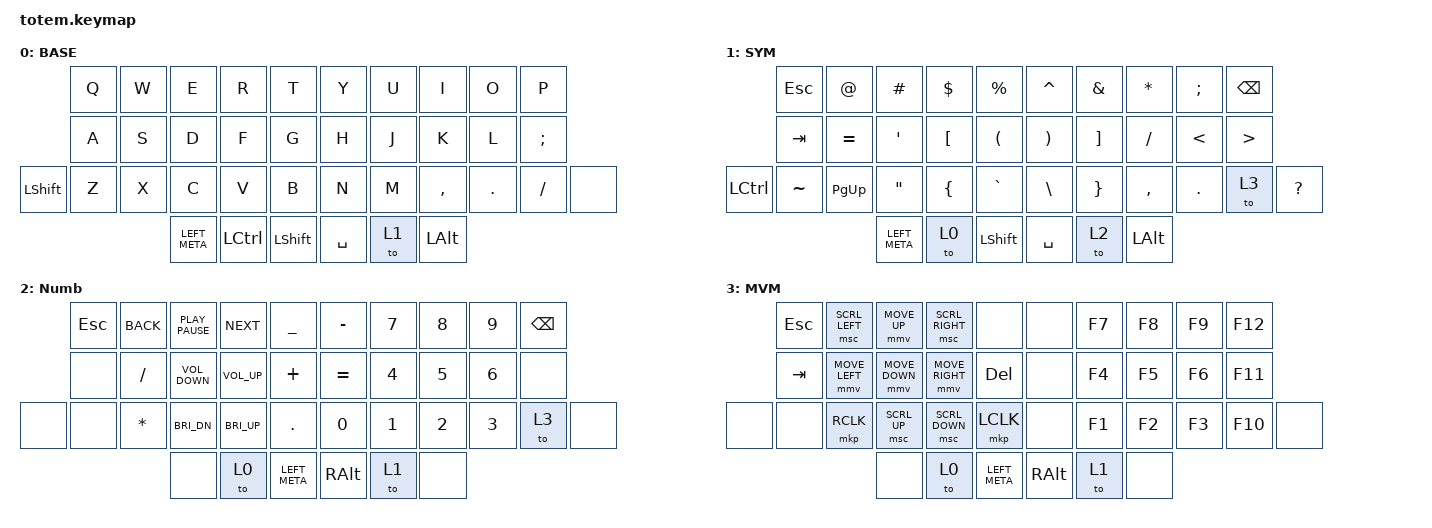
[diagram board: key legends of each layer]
//
//                                                        ▀▀▀▀▀     ▀▀▀▀▀          ▀▀█▀▀
//                                                        ▄▀▀▀▄  ▄  ▄▀▀▀▄  ▄  ▄▀▀▀▄  █  ▄▀▀▀▄
//                                                        █   █  █  █   █  █  █   █  █  █   █
//                                                         ▀▀▀   █   ▀▀▀   █   ▀▀▀   ▀   ▀▀▀
//                                                               █      ▄▄▄█▄▄▄    █   █  
//                                                               ▀      █  █  █     █▄█
//                                                             ▀▀▀▀▀    █  █  █      ▀
//                                                                      ▀  ▀  ▀
//
// ▄▄▄▄▄▄▄▄▄▄▄▄▄▄▄▄▄▄▄▄▄▄▄▄▄▄▄▄▄▄▄▄▄▄▄▄▄▄▄▄▄▄▄▄▄▄▄▄▄▄▄▄▄▄▄▄▄▄▄▄▄▄▄▄▄▄▄▄▄▄▄▄▄▄▄▄▄▄▄▄▄▄▄▄▄▄▄▄▄▄▄▄▄▄▄▄▄▄▄▄▄▄▄▄▄▄▄▄▄▄▄▄▄▄▄▄▄▄▄▄▄▄▄▄▄▄▄▄▄▄▄▄▄▄▄▄▄▄▄▄▄▄▄▄▄▄▄▄▄

#include <behaviors.dtsi>
#include <dt-bindings/zmk/keys.h>
#include <dt-bindings/zmk/pointing.h>

#define BASE 0
#define NAV  1
#define SYM  2
#define ADJ  3
#define TVP1 4
#define TVP2 5

&mt {
    quick-tap-ms = <100>;
    global-quick-tap;
    flavor = "tap-preferred";
    tapping-term-ms = <170>;
};

/ {
    combos {
        compatible = "zmk,combos";

        combo_retern {
            timeout-ms = <50>;
            key-positions = <16 17 18>;
            bindings = <&kp ENTER>;
            layers = <0 2 3 1>;
        };

        esc {
            bindings = <&kp ESCAPE>;
            key-positions = <13 12 11>;
            layers = <0 2 1 3>;
        };

        Backspace {
            bindings = <&kp DEL>;
            key-positions = <6 7 8>;
            timeout-ms = <50>;
            layers = <0 1 2 3>;
        };
    };

    macros {
        gif: gif {
            label = "giphy";
            compatible = "zmk,behavior-macro";
            #binding-cells = <0>;
            bindings =
                <&macro_press>,
                <&kp LSHFT>,
                <&macro_tap>,
                <&kp N2>,
                <&macro_release>,
                <&kp LSHFT>,
                <&macro_tap>,
                <&kp G &kp I &kp F>;
        };
    };

    keymap {
        compatible = "zmk,keymap";

        // ▄▄▄▄▄▄▄▄▄▄▄▄▄▄▄▄▄▄▄▄▄▄▄▄▄▄▄▄▄▄▄▄▄▄▄▄▄▄▄▄▄▄▄▄▄▄▄▄▄▄▄▄▄▄▄▄▄▄▄▄▄▄▄▄▄▄▄▄▄▄▄▄▄▄▄▄▄▄▄▄▄▄▄▄▄▄▄▄▄▄▄▄▄▄▄▄▄▄▄▄▄▄▄▄▄▄▄▄▄▄▄▄▄▄▄▄▄▄▄▄▄▄▄▄▄▄▄▄▄▄▄▄▄▄▄▄▄▄▄▄▄▄▄▄▄▄▄▄▄

        base_layer {
            // ┏━━━━━━━━━━━━━━━━━━━━━━━━━━━━━━━━━━━━━━━┓

            label = "BASE";

            // ┗━━━━━━━━━━━━━━━━━━━━━━━━━━━━━━━━━━━━━━━┛
            //             ┏━━━━━━━━━━━┳━━━━━━━━━━━┳━━━━━━━━━━━┳━━━━━━━━━━━┳━━━━━━━━━━━┓   ┏━━━━━━━━━━━┳━━━━━━━━━━━┳━━━━━━━━━━━┳━━━━━━━━━━━┳━━━━━━━━━━━┓
            //             ┃     Q     ┃     W     ┃     F     ┃     P     ┃     G     ┃   ┃     J     ┃     L     ┃     U     ┃     Y     ┃     ;     ┃
            //             ┣━━━━━━━━━━━╋━━━━━━━━━━━╋━━━━━━━━━━━╋━━━━━━━━━━━╋━━━━━━━━━━━┫   ┣━━━━━━━━━━━╋━━━━━━━━━━━╋━━━━━━━━━━━╋━━━━━━━━━━━╋━━━━━━━━━━━┫
            //             ┃     A     ┃     R     ┃     S     ┃     T     ┃     D     ┃   ┃     H     ┃     N     ┃     E     ┃     I     ┃     O     ┃
            // ┏━━━━━━━━━━━╋━━━━━━━━━━━╋━━━━━━━━━━━╋━━━━━━━━━━━╋━━━━━━━━━━━╋━━━━━━━━━━━┫   ┣━━━━━━━━━━━╋━━━━━━━━━━━╋━━━━━━━━━━━╋━━━━━━━━━━━╋━━━━━━━━━━━╋━━━━━━━━━━━┓
            // ┃     Q     ┃     Z     ┃     X     ┃     C     ┃     V     ┃     B     ┃   ┃     K     ┃     M     ┃     ,     ┃     .     ┃     /     ┃     \     ┃
            // ┗━━━━━━━━━━━┻━━━━━━━━━━━┻━━━━━━━━━━━╋━━━━━━━━━━━╋━━━━━━━━━━━╋━━━━━━━━━━━┫   ┣━━━━━━━━━━━╋━━━━━━━━━━━╋━━━━━━━━━━━╋━━━━━━━━━━━┻━━━━━━━━━━━┻━━━━━━━━━━━┛
            //                                     ┃    DEL    ┃    TAB    ┃    SPC    ┃   ┃   ENTER   ┃           ┃   BSPC    ┃
            //                                     ┗━━━━━━━━━━━┻━━━━━━━━━━━┻━━━━━━━━━━━┛   ┗━━━━━━━━━━━┻━━━━━━━━━━━┻━━━━━━━━━━━┛

            bindings = <
                &kp Q  &kp W  &kp E          &kp R             &kp T             &kp Y      &kp U  &kp I         &kp O    &kp P
                &kp A  &kp S  &kp D          &kp F             &kp G             &kp H      &kp J  &kp K         &kp L    &kp SEMICOLON
&kp LEFT_SHIFT  &kp Z  &kp X  &kp C          &kp V             &kp B             &kp N      &kp M  &kp COMMA     &kp DOT  &kp FSLH       &none
                              &kp LEFT_META  &kp LEFT_CONTROL  &kp LEFT_SHIFT    &kp SPACE  &to 1  &kp LEFT_ALT
            >;
        };

        symbols {
            // ┏━━━━━━━━━━━━━━━━━━━━━━━━━━━━━━━━━━━━━━━┓

            label = "SYM";

            // ┗━━━━━━━━━━━━━━━━━━━━━━━━━━━━━━━━━━━━━━━┛
            //             ┏━━━━━━━━━━━┳━━━━━━━━━━━┳━━━━━━━━━━━┳━━━━━━━━━━━┳━━━━━━━━━━━┓   ┏━━━━━━━━━━━┳━━━━━━━━━━━┳━━━━━━━━━━━┳━━━━━━━━━━━┳━━━━━━━━━━━┓
            //             ┃           ┃           ┃     UP    ┃           ┃     {     ┃   ┃     }     ┃     7     ┃     8     ┃     9     ┃     +     ┃
            //             ┣━━━━━━━━━━━╋━━━━━━━━━━━╋━━━━━━━━━━━╋━━━━━━━━━━━╋━━━━━━━━━━━┫   ┣━━━━━━━━━━━╋━━━━━━━━━━━╋━━━━━━━━━━━╋━━━━━━━━━━━╋━━━━━━━━━━━┫
            //             ┃   SHIFT   ┃   LEFT    ┃    DOWN   ┃   RIGHT   ┃     [     ┃   ┃     ]     ┃     4     ┃     5     ┃     6     ┃     -     ┃
            // ┏━━━━━━━━━━━╋━━━━━━━━━━━╋━━━━━━━━━━━╋━━━━━━━━━━━╋━━━━━━━━━━━╋━━━━━━━━━━━┫   ┣━━━━━━━━━━━╋━━━━━━━━━━━╋━━━━━━━━━━━╋━━━━━━━━━━━╋━━━━━━━━━━━╋━━━━━━━━━━━┓
            // ┃           ┃           ┃   P UP    ┃  C LOCK   ┃  P DOWN   ┃     (     ┃   ┃     )     ┃     1     ┃     2     ┃     3     ┃     *     ┃           ┃
            // ┗━━━━━━━━━━━┻━━━━━━━━━━━┻━━━━━━━━━━━╋━━━━━━━━━━━╋━━━━━━━━━━━╋━━━━━━━━━━━┫   ┣━━━━━━━━━━━╋━━━━━━━━━━━╋━━━━━━━━━━━╋━━━━━━━━━━━┻━━━━━━━━━━━┻━━━━━━━━━━━┛
            //                                     ┃           ┃    TAB    ┃    SPC    ┃   ┃    DEL    ┃     0     ┃           ┃
            //                                     ┗━━━━━━━━━━━┻━━━━━━━━━━━┻━━━━━━━━━━━┛   ┗━━━━━━━━━━━┻━━━━━━━━━━━┻━━━━━━━━━━━┛

            bindings = <
                  &kp ESC    &kp AT_SIGN  &kp POUND          &kp DOLLAR        &kp PERCENT             &kp CARET              &kp AMPERSAND      &kp ASTERISK  &kp SEMICOLON  &kp BACKSPACE
                  &kp TAB    &kp EQUAL    &kp SINGLE_QUOTE   &kp LEFT_BRACKET  &kp LEFT_PARENTHESIS    &kp RIGHT_PARENTHESIS  &kp RIGHT_BRACKET  &kp SLASH     &kp LESS_THAN  &kp GREATER_THAN
&kp LEFT_CONTROL  &kp TILDE  &kp PG_UP    &kp DOUBLE_QUOTES  &kp LEFT_BRACE    &kp GRAVE               &kp BACKSLASH          &kp RIGHT_BRACE    &kp COMMA     &kp PERIOD     &to 3             &kp QUESTION
                                          &kp LEFT_META      &to 0             &kp LEFT_SHIFT          &kp SPACE              &to 2              &kp LEFT_ALT
            >;
        };

        Numb {
            bindings = <
       &kp ESCAPE  &kp K_BACK    &kp K_PLAY_PAUSE   &kp K_NEXT       &kp UNDERSCORE    &kp MINUS      &kp NUMBER_7  &kp NUMBER_8  &kp NUMBER_9  &kp BACKSPACE
       &none       &kp SLASH     &kp C_VOLUME_DOWN  &kp C_VOLUME_UP  &kp PLUS          &kp EQUAL      &kp NUMBER_4  &kp NUMBER_5  &kp NUMBER_6  &none
&none  &none       &kp ASTERISK  &kp C_BRI_DN       &kp C_BRI_UP     &kp PERIOD        &kp NUMBER_0   &kp NUMBER_1  &kp NUMBER_2  &kp NUMBER_3  &to 3          &none
                                 &none              &to 0            &kp LEFT_META     &kp RIGHT_ALT  &to 1         &none
            >;
        };

        Mouse_MVM {
            // ┏━━━━━━━━━━━━━━━━━━━━━━━━━━━━━━━━━━━━━━━┓

            label = "MVM";

            // ┗━━━━━━━━━━━━━━━━━━━━━━━━━━━━━━━━━━━━━━━┛
            //             ┏━━━━━━━━━━━┳━━━━━━━━━━━┳━━━━━━━━━━━┳━━━━━━━━━━━┳━━━━━━━━━━━┓   ┏━━━━━━━━━━━┳━━━━━━━━━━━┳━━━━━━━━━━━┳━━━━━━━━━━━┳━━━━━━━━━━━┓
            //             ┃   RESET   ┃ BT CLEAR  ┃  OUT TOG  ┃           ┃           ┃   ┃           ┃    F7     ┃    F8     ┃    F9     ┃    F12    ┃
            //             ┣━━━━━━━━━━━╋━━━━━━━━━━━╋━━━━━━━━━━━╋━━━━━━━━━━━╋━━━━━━━━━━━┫   ┣━━━━━━━━━━━╋━━━━━━━━━━━╋━━━━━━━━━━━╋━━━━━━━━━━━╋━━━━━━━━━━━┫
            //             ┃ BOOTLOAD  ┃ BT NEXT   ┃           ┃           ┃           ┃   ┃           ┃    F4     ┃    F5     ┃    F6     ┃    F11    ┃
            // ┏━━━━━━━━━━━╋━━━━━━━━━━━╋━━━━━━━━━━━╋━━━━━━━━━━━╋━━━━━━━━━━━╋━━━━━━━━━━━┫   ┣━━━━━━━━━━━╋━━━━━━━━━━━╋━━━━━━━━━━━╋━━━━━━━━━━━╋━━━━━━━━━━━╋━━━━━━━━━━━┓
            // ┃           ┃           ┃ BT PREV   ┃           ┃           ┃           ┃   ┃           ┃    F1     ┃    F2     ┃    F3     ┃    F10    ┃           ┃
            // ┗━━━━━━━━━━━┻━━━━━━━━━━━┻━━━━━━━━━━━╋━━━━━━━━━━━╋━━━━━━━━━━━╋━━━━━━━━━━━┫   ┣━━━━━━━━━━━╋━━━━━━━━━━━╋━━━━━━━━━━━╋━━━━━━━━━━━┻━━━━━━━━━━━┻━━━━━━━━━━━┛
            //                                     ┃           ┃           ┃           ┃   ┃           ┃           ┃           ┃
            //                                     ┗━━━━━━━━━━━┻━━━━━━━━━━━┻━━━━━━━━━━━┛   ┗━━━━━━━━━━━┻━━━━━━━━━━━┻━━━━━━━━━━━┛

            bindings = <
       &kp ESCAPE  &msc SCRL_LEFT  &mmv MOVE_UP    &msc SCRL_RIGHT  &none            &none          &kp F7  &kp F8  &kp F9  &kp F12
       &kp TAB     &mmv MOVE_LEFT  &mmv MOVE_DOWN  &mmv MOVE_RIGHT  &kp DELETE       &none          &kp F4  &kp F5  &kp F6  &kp F11
&none  &none       &mkp RCLK       &msc SCRL_UP    &msc SCRL_DOWN   &mkp LCLK        &none          &kp F1  &kp F2  &kp F3  &kp F10  &none
                                   &none           &to 0            &kp LEFT_META    &kp RIGHT_ALT  &to 1   &none
            >;
        };
    };
};
